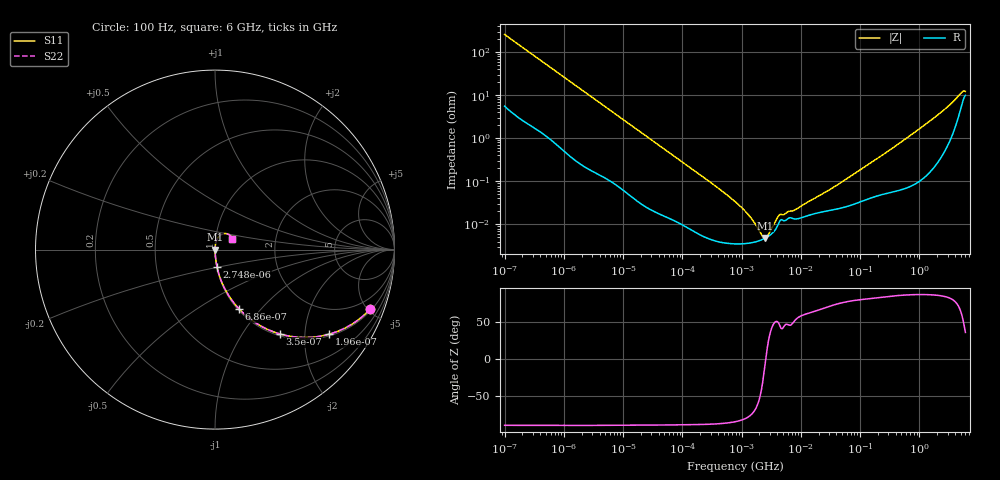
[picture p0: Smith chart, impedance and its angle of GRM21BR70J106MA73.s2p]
!Murata Part Number: GRM21BR70J106MA73
!These Parameters are Measured in Series Mode Connection
!Data Generated on Mar 30, 2021
!  o--ll--o
!Port1  Port2
!  o------o
!Operation Temp=25[degC], DC Bias Voltage=0[V]
!Freq. Start=100[Hz] Stop=6[GHz] 401[Steps]
# Hz S RI R 50
!Freq.(Hz) S11(Real) S11(Imag) S21(Real) S21(Imag) S12(Real) S12(Imag) S22(Real) S22(Imag)
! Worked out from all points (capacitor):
!   401 points, 100 Hz to 6 GHz, reference 50 ohm
!   read as one part in series: C = 6.15 uF near 109 Hz
!   lowest |Z| = 4.81 mohm at 2.481 MHz (marker M1)
!   series resonance near 2.559 MHz, so ESL is about 630 pH
!   S11 on the Smith chart (normalised r, x): 100 Hz: 1.11, -5.16; 196 Hz: 1.05, -2.65; 350 Hz: 1.03, -1.49; 686 Hz: 1.02, -0.77; 2.748 kHz: 1.00, -0.20; 6 GHz: 1.20, +0.14
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100  0.8642 -0.3319  0.1358 0.3319  0.1358 0.3319  0.8642 -0.3319
196  0.6353 -0.4714  0.3647 0.4714  0.3647 0.4714  0.6353 -0.4714
350  0.361 -0.4698  0.639 0.4698  0.639 0.4698  0.361 -0.4698
686  0.1346 -0.3311  0.8654 0.3311  0.8654 0.3311  0.1346 -0.3311
2008  0.0197 -0.1302  0.9803 0.1302  0.9803 0.1302  0.0197 -0.1302
2748  0.0112 -0.0963  0.9888 0.0963  0.9888 0.0963  0.0112 -0.0963
8047  0.00192 -0.0337  0.9981 0.0337  0.9981 0.0337  0.00192 -0.0337
40335  0.000223 -0.00688  0.9998 0.00688  0.9998 0.00688  0.000223 -0.00688
774597  3.54e-05 -0.000338  1 0.000338  1 0.000338  3.54e-05 -0.000338
1159002  3.59e-05 -0.000198  1 0.000198  1 0.000198  3.59e-05 -0.000198
1734173  3.94e-05 -9.01e-05  1 9.01e-05  1 9.01e-05  3.94e-05 -9.01e-05
2481164  4.76e-05 -7e-06  1 7e-06  1 7e-06  4.76e-05 -7e-06
3394479  6.48e-05 6.66e-05  0.9999 -6.66e-05  0.9999 -6.66e-05  6.48e-05 6.66e-05
4440638  0.000121 0.000119  0.9999 -0.000119  0.9999 -0.000119  0.000121 0.000119
7947587  0.000134 0.00017  0.9999 -0.00017  0.9999 -0.00017  0.000134 0.00017
1.555665e7  0.000171 0.000336  0.9998 -0.000336  0.9998 -0.000336  0.000171 0.000336
4.165952e7  0.00023 0.000801  0.9998 -0.000801  0.9998 -0.000801  0.00023 0.000801
3.124326e8  0.00057 0.00522  0.9994 -0.00522  0.9994 -0.00522  0.00057 0.00522
1.369159e9  0.00193 0.0227  0.9981 -0.0227  0.9981 -0.0227  0.00193 0.0227
3.205649e9  0.0113 0.0568  0.9887 -0.0568  0.9887 -0.0568  0.0113 0.0568
5.016141e9  0.0553 0.0896  0.9447 -0.0896  0.9447 -0.0896  0.0553 0.0896
6e9  0.0948 0.0592  0.9052 -0.0592  0.9052 -0.0592  0.0948 0.0592
